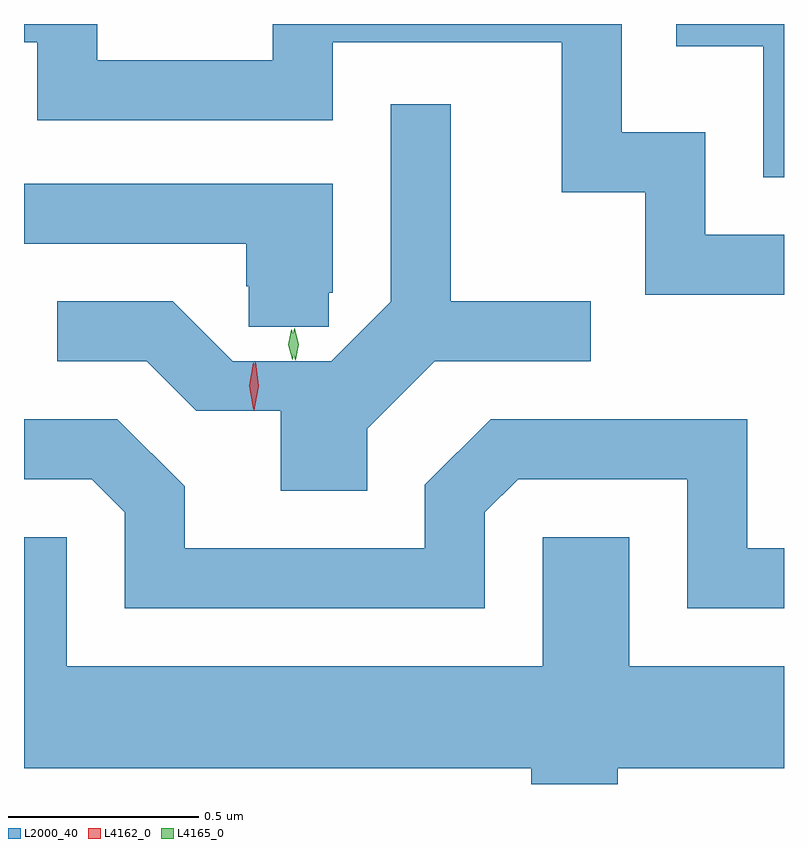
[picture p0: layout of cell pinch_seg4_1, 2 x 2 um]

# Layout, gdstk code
import gdstk
lib = gdstk.Library(unit=1e-6, precision=1e-09)
def P(c, l, *ps):  # polygons
    for p in ps: c.add(gdstk.Polygon(p, *l))
L2000_40 = (2000, 40)
L4162_0 = (4162, 0)
L4165_0 = (4165, 0)

pinch_seg4_1 = lib.new_cell('pinch_seg4_1')
P(pinch_seg4_1, L2000_40, [(1865.166,1320.559),(1864.959,1320.559),(1864.959,1320.829),(1864.739,1320.829),(1864.739,1321.114),(1863.821,1321.114),(1863.821,1321.019),(1863.359,1321.019),(1863.359,1321.114),(1863.166,1321.114),(1863.166,1321.066),(1863.201,1321.066),(1863.201,1320.861),(1863.979,1320.861),(1863.979,1321.066),(1864.581,1321.066),(1864.581,1320.671),(1864.801,1320.671),(1864.801,1320.401),(1865.166,1320.401)],
  [(1865.166,1321.114),(1864.883,1321.114),(1864.883,1321.056),(1865.111,1321.056),(1865.111,1320.711),(1865.166,1320.711)],
  [(1864.069,1320.049),(1864.247,1320.226),(1864.658,1320.226),(1864.658,1320.384),(1864.289,1320.384),(1864.289,1320.903),(1864.131,1320.903),(1864.131,1320.383),(1863.975,1320.226),(1863.715,1320.226),(1863.557,1320.384),(1863.253,1320.384),(1863.253,1320.226),(1863.489,1320.226),(1863.619,1320.096),(1863.841,1320.096),(1863.841,1319.886),(1864.069,1319.886)],
  [(1863.968,1320.407),(1863.978,1320.407),(1863.978,1320.694),(1863.166,1320.694),(1863.166,1320.536),(1863.751,1320.536),(1863.751,1320.424),(1863.757,1320.424),(1863.757,1320.317),(1863.968,1320.317)],
  [(1864.379,1319.829),(1864.467,1319.916),(1864.911,1319.916),(1864.911,1319.576),(1865.166,1319.576),(1865.166,1319.734),(1865.069,1319.734),(1865.069,1320.074),(1864.394,1320.074),(1864.221,1319.902),(1864.221,1319.734),(1863.589,1319.734),(1863.589,1319.897),(1863.412,1320.074),(1863.166,1320.074),(1863.166,1319.916),(1863.344,1319.916),(1863.431,1319.829),(1863.431,1319.576),(1864.379,1319.576)],
  [(1864.729,1319.156),(1865.166,1319.156),(1865.166,1319.424),(1864.759,1319.424),(1864.759,1319.764),(1864.531,1319.764),(1864.531,1319.424),(1863.279,1319.424),(1863.279,1319.764),(1863.166,1319.764),(1863.166,1319.156),(1864.501,1319.156),(1864.501,1319.114),(1864.729,1319.114)])
P(pinch_seg4_1, L4162_0, [(1863.771,1320.098),(1863.764,1320.162),(1863.775,1320.225),(1863.776,1320.226),(1863.776,1320.225),(1863.784,1320.161),(1863.772,1320.098),(1863.772,1320.098)],
  [(1863.769,1320.101),(1863.769,1320.102),(1863.759,1320.162),(1863.769,1320.222),(1863.769,1320.223),(1863.77,1320.222),(1863.779,1320.162),(1863.77,1320.102)])
P(pinch_seg4_1, L4165_0, [(1863.881,1320.229),(1863.88,1320.23),(1863.869,1320.271),(1863.877,1320.312),(1863.878,1320.313),(1863.878,1320.312),(1863.889,1320.271),(1863.881,1320.23)],
  [(1863.872,1320.231),(1863.872,1320.232),(1863.861,1320.27),(1863.869,1320.31),(1863.87,1320.31),(1863.87,1320.31),(1863.881,1320.271),(1863.873,1320.232)])

lib.write_gds('pinch_seg4_1.gds')
